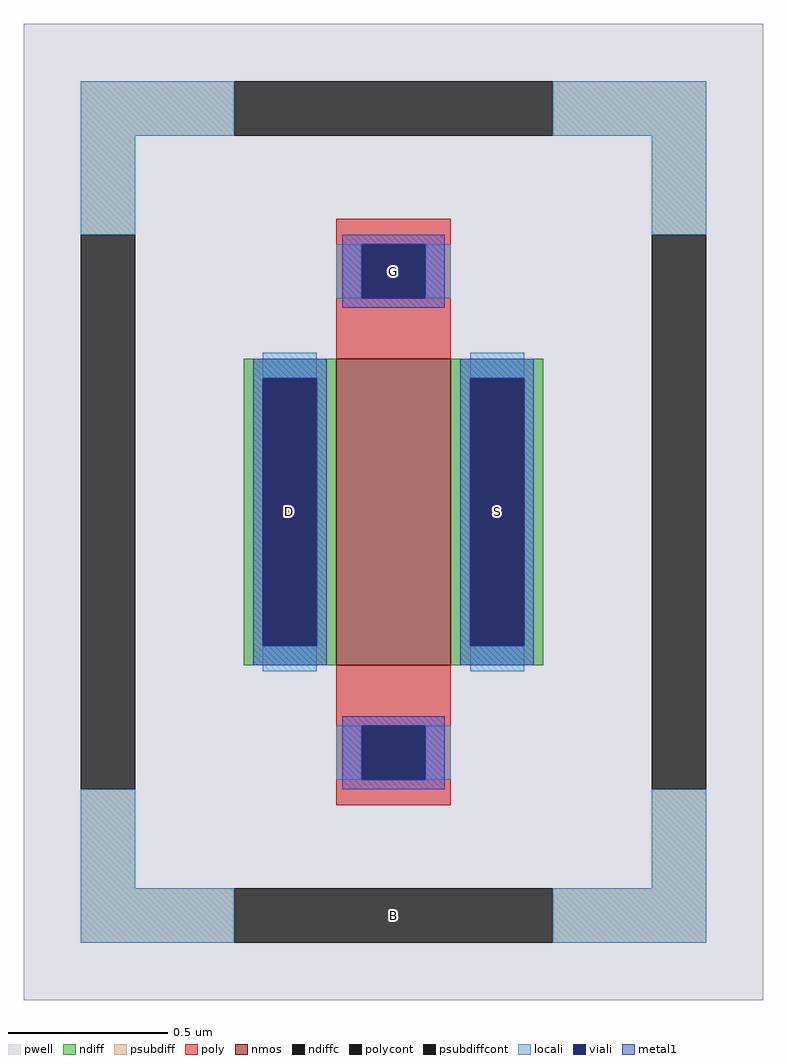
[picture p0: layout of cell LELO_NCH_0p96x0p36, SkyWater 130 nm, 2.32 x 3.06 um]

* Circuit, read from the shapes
.subckt LELO_NCH_0p96x0p36 D G S B
XM1 S G D B sky130_fd_pr__nfet_01v8 w=0.96 l=0.36
.ends

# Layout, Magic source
magic
tech sky130A
magscale 1 2
<< pwell >>
rect -232 -306 232 306
<< nmos >>
rect -36 -96 36 96
<< ndiff >>
rect -94 84 -36 96
rect -94 -84 -82 84
rect -48 -84 -36 84
rect -94 -96 -36 -84
rect 36 84 94 96
rect 36 -84 48 84
rect 82 -84 94 84
rect 36 -96 94 -84
<< ndiffc >>
rect -82 -84 -48 84
rect 48 -84 82 84
<< psubdiff >>
rect -196 236 -100 270
rect 100 236 196 270
rect -196 174 -162 236
rect 162 174 196 236
rect -196 -236 -162 -174
rect 162 -236 196 -174
rect -196 -270 -100 -236
rect 100 -270 196 -236
<< psubdiffcont >>
rect -100 236 100 270
rect -196 -174 -162 174
rect 162 -174 196 174
rect -100 -270 100 -236
<< poly >>
rect -36 168 36 184
rect -36 134 -20 168
rect 20 134 36 168
rect -36 96 36 134
rect -36 -134 36 -96
rect -36 -168 -20 -134
rect 20 -168 36 -134
rect -36 -184 36 -168
<< polycont >>
rect -20 134 20 168
rect -20 -168 20 -134
<< locali >>
rect -196 236 -100 270
rect 100 236 196 270
rect -196 174 -162 236
rect 162 174 196 236
rect -36 134 -20 168
rect 20 134 36 168
rect -82 84 -48 100
rect -82 -100 -48 -84
rect 48 84 82 100
rect 48 -100 82 -84
rect -36 -168 -20 -134
rect 20 -168 36 -134
rect -196 -236 -162 -174
rect 162 -236 196 -174
rect -196 -270 -100 -236
rect 100 -270 196 -236
<< viali >>
rect -20 134 20 168
rect -82 -84 -48 84
rect 48 -84 82 84
rect -20 -168 20 -134
<< metal1 >>
rect -32 168 32 174
rect -32 134 -20 168
rect 20 134 32 168
rect -32 128 32 134
rect -88 84 -42 96
rect -88 -84 -82 84
rect -48 -84 -42 84
rect -88 -96 -42 -84
rect 42 84 88 96
rect 42 -84 48 84
rect 82 -84 88 84
rect 42 -96 88 -84
rect -32 -134 32 -128
rect -32 -168 -20 -134
rect 20 -168 32 -134
rect -32 -174 32 -168
<< labels >>
flabel locali s -4 -257 4 -249 0 FreeSans 200 0 0 0 B
port 4 nsew
flabel metal1 s -69 -4 -61 4 0 FreeSans 200 0 0 0 D
port 1 nsew
flabel metal1 s 61 -4 69 4 0 FreeSans 200 0 0 0 S
port 3 nsew
flabel metal1 s -4 147 4 155 0 FreeSans 200 0 0 0 G
port 2 nsew
<< properties >>
string FIXED_BBOX -179 -253 179 253
<< end >>
